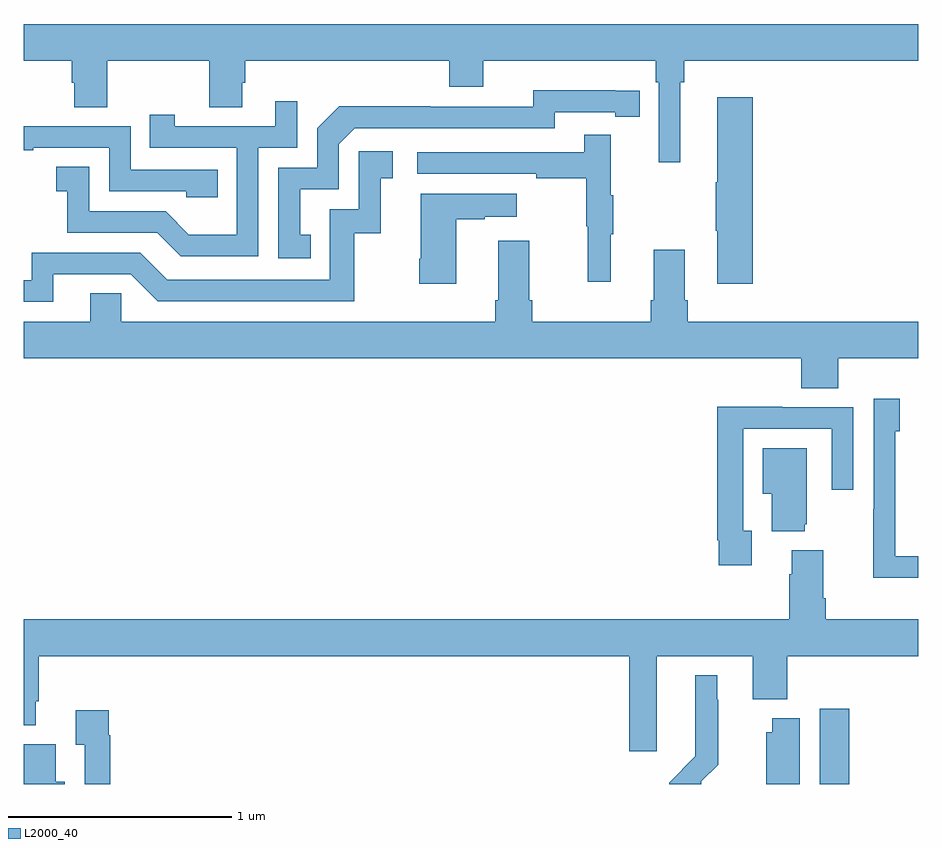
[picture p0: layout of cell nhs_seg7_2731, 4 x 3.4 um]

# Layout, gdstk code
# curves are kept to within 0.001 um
import gdstk
lib = gdstk.Library(unit=1e-6, precision=1e-09)
def R(c, l, rs):  # rectangles x0, y0, x1, y1
    for r in rs: c.add(gdstk.rectangle(r[:2], r[2:], *l))
def P(c, l, *ps):  # polygons
    for p in ps: c.add(gdstk.Polygon(p, *l))
L2000_40 = (2000, 40)

nhs_seg7_2731 = lib.new_cell('nhs_seg7_2731')
R(nhs_seg7_2731, L2000_40, [(290.561,1044,290.693,1044.337)])
P(nhs_seg7_2731, L2000_40, [(289.936,1047.14),(289.955,1047.14),(289.955,1047.236),(291,1047.236),(291,1047.4),(287,1047.4),(287,1047.236),(287.213,1047.236),(287.213,1047.138),(287.225,1047.138),(287.225,1047.028),(287.373,1047.028),(287.373,1047.236),(287.83,1047.236),(287.83,1047.028),(287.977,1047.028),(287.977,1047.138),(287.99,1047.138),(287.99,1047.236),(288.902,1047.236),(288.902,1047.119),(289.054,1047.119),(289.054,1047.236),(289.826,1047.236),(289.826,1047.14),(289.839,1047.14),(289.839,1046.781),(289.936,1046.781)],
  [(288.284,1046.457),(288.235,1046.457),(288.235,1046.661),(288.408,1046.661),(288.408,1046.862),(288.48,1046.934),(289.374,1046.934),(289.374,1047.006),(289.646,1047.006),(289.646,1046.986),(289.754,1046.986),(289.754,1047.102),(289.278,1047.103),(289.278,1047.03),(288.818,1047.03),(288.818,1047.032),(288.41,1047.032),(288.312,1046.934),(288.312,1046.757),(288.138,1046.757),(288.138,1046.352),(288.284,1046.352)],
  [(290.261,1047.073),(290.102,1047.073),(290.102,1046.693),(290.095,1046.693),(290.095,1046.476),(290.102,1046.476),(290.102,1046.238),(290.261,1046.238)],
  [(288.048,1046.847),(288.222,1046.847),(288.222,1047.055),(288.125,1047.055),(288.125,1046.943),(287.674,1046.943),(287.674,1046.995),(287.563,1046.995),(287.563,1046.847),(287.952,1046.847),(287.952,1046.458),(287.738,1046.458),(287.634,1046.562),(287.292,1046.562),(287.292,1046.761),(287.145,1046.761),(287.145,1046.651),(287.194,1046.651),(287.194,1046.466),(287.597,1046.466),(287.702,1046.361),(288.048,1046.361)],
  [(287.867,1046.748),(287.478,1046.748),(287.478,1046.943),(287,1046.943),(287,1046.835),(287.041,1046.835),(287.041,1046.847),(287.382,1046.847),(287.382,1046.652),(287.727,1046.652),(287.727,1046.625),(287.867,1046.625)],
  [(289.625,1046.459),(289.636,1046.459),(289.636,1046.633),(289.625,1046.633),(289.625,1046.905),(289.507,1046.905),(289.507,1046.826),(288.759,1046.826),(288.759,1046.73),(289.291,1046.73),(289.291,1046.71),(289.515,1046.71),(289.515,1046.496),(289.522,1046.496),(289.522,1046.247),(289.625,1046.247)],
  [(287.131,1046.28),(287.478,1046.28),(287.598,1046.16),(288.478,1046.16),(288.478,1046.463),(288.596,1046.463),(288.596,1046.709),(288.649,1046.709),(288.649,1046.83),(288.498,1046.83),(288.498,1046.571),(288.369,1046.571),(288.369,1046.256),(287.64,1046.256),(287.52,1046.376),(287.034,1046.376),(287.034,1046.253),(287,1046.253),(287,1046.157),(287.131,1046.157)],
  [(288.934,1046.527),(289.061,1046.527),(289.061,1046.537),(289.204,1046.537),(289.204,1046.641),(288.776,1046.641),(288.776,1046.35),(288.769,1046.35),(288.769,1046.238),(288.934,1046.238)],
  [(290.642,1045.904),(291,1045.904),(291,1046.068),(289.97,1046.068),(289.97,1046.164),(289.957,1046.164),(289.957,1046.389),(289.817,1046.389),(289.817,1046.164),(289.805,1046.164),(289.805,1046.068),(289.274,1046.068),(289.274,1046.164),(289.261,1046.164),(289.261,1046.43),(289.121,1046.43),(289.121,1046.164),(289.109,1046.164),(289.109,1046.068),(287.436,1046.068),(287.436,1046.195),(287.297,1046.195),(287.297,1046.068),(287,1046.068),(287,1045.904),(290.477,1045.904),(290.477,1045.771),(290.642,1045.771)],
  [(291,1045.02),(290.898,1045.02),(290.898,1045.578),(290.917,1045.578),(290.917,1045.723),(290.802,1045.723),(290.802,1045.229),(290.8,1045.229),(290.8,1044.923),(291,1044.923)],
  [(290.257,1045.134),(290.217,1045.134),(290.217,1045.59),(290.613,1045.59),(290.613,1045.317),(290.709,1045.317),(290.709,1045.686),(290.393,1045.686),(290.393,1045.688),(290.101,1045.688),(290.101,1045.09),(290.109,1045.09),(290.109,1044.978),(290.257,1044.978)],
  [(290.492,1045.161),(290.503,1045.161),(290.503,1045.501),(290.306,1045.501),(290.306,1045.298),(290.345,1045.298),(290.345,1045.13),(290.492,1045.13)],
  [(289.831,1044.572),(290.261,1044.572),(290.261,1044.38),(290.414,1044.38),(290.414,1044.572),(291,1044.572),(291,1044.736),(290.588,1044.736),(290.588,1044.832),(290.575,1044.832),(290.575,1045.045),(290.435,1045.045),(290.435,1044.938),(290.423,1044.938),(290.423,1044.736),(287,1044.736),(287,1044.263),(287.053,1044.263),(287.053,1044.37),(287.066,1044.37),(287.066,1044.572),(289.709,1044.572),(289.709,1044.147),(289.831,1044.147)],
  [(290.031,1044.012),(290.105,1044.086),(290.105,1044.377),(290.101,1044.377),(290.101,1044.487),(290.003,1044.487),(290.003,1044.226),(290.004,1044.226),(290.004,1044.124),(289.886,1044.006),(289.886,1044),(290.031,1044)],
  [(287.387,1044.218),(287.38,1044.218),(287.38,1044.331),(287.231,1044.331),(287.231,1044.175),(287.271,1044.175),(287.271,1044),(287.387,1044)],
  [(290.47,1044.295),(290.348,1044.295),(290.348,1044.231),(290.321,1044.231),(290.321,1044),(290.47,1044)],
  [(287.182,1044.01),(287.143,1044.01),(287.143,1044.178),(287,1044.178),(287,1044),(287.182,1044)])

lib.write_gds('nhs_seg7_2731.gds')
